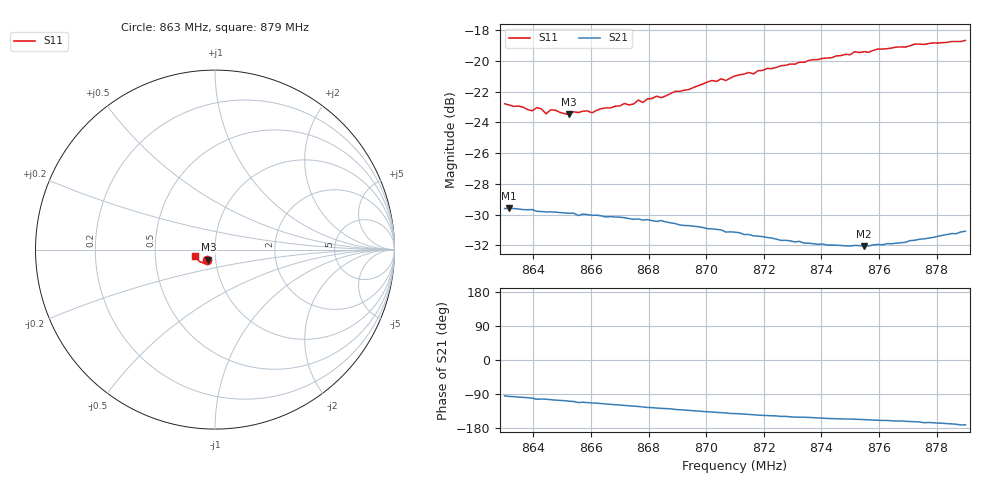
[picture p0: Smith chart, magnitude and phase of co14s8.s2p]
# HZ S RI R 50
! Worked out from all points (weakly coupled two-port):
!   101 points, 863 MHz to 879 MHz, reference 50 ohm
!   highest |S21| = -29.59 dB at 863.16 MHz (marker M1); lowest = -32.1 dB at 875.48 MHz (marker M2)
!   lowest |S11| = -23.5 dB at 865.24 MHz (marker M3), VSWR 1.14, Z = 46.2 - j5.18 ohm
!   |S11| at or under -10 dB: start of sweep to end of sweep
!   S12 and S22 are empty: the file has one direction only
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8.63e8  -0.0451 -0.0569  -0.0027 -0.033  0 0  0 0
8.6316e8  -0.0441 -0.0568  -0.0035 -0.033  0 0  0 0
8.6396e8  -0.0407 -0.0556  -0.00616 -0.0323  0 0  0 0
8.6412e8  -0.0432 -0.0558  -0.00758 -0.0315  0 0  0 0
8.6444e8  -0.0385 -0.0552  -0.00755 -0.0314  0 0  0 0
8.646e8  -0.0394 -0.0571  -0.00822 -0.0312  0 0  0 0
8.6524e8  -0.037 -0.0559  -0.0102 -0.0303  0 0  0 0
8.6572e8  -0.0358 -0.0586  -0.0116 -0.0296  0 0  0 0
8.6604e8  -0.0353 -0.0579  -0.0124 -0.0289  0 0  0 0
8.6716e8  -0.0364 -0.0629  -0.0154 -0.0268  0 0  0 0
8.6748e8  -0.0348 -0.0635  -0.0161 -0.0259  0 0  0 0
8.6764e8  -0.0371 -0.0647  -0.0165 -0.0258  0 0  0 0
8.678e8  -0.0365 -0.0635  -0.0169 -0.0252  0 0  0 0
8.6828e8  -0.0376 -0.067  -0.018 -0.0241  0 0  0 0
8.6844e8  -0.0372 -0.0662  -0.0185 -0.024  0 0  0 0
8.702e8  -0.0453 -0.0736  -0.0209 -0.0192  0 0  0 0
8.7068e8  -0.0469 -0.0725  -0.0211 -0.018  0 0  0 0
8.71e8  -0.0502 -0.074  -0.0217 -0.0173  0 0  0 0
8.7372e8  -0.0694 -0.0734  -0.0225 -0.0119  0 0  0 0
8.7548e8  -0.0838 -0.067  -0.023 -0.00964  0 0  0 0
8.7644e8  -0.0922 -0.0604  -0.0239 -0.00855  0 0  0 0
8.79e8  -0.1102 -0.0381  -0.0276 -0.00428  0 0  0 0
